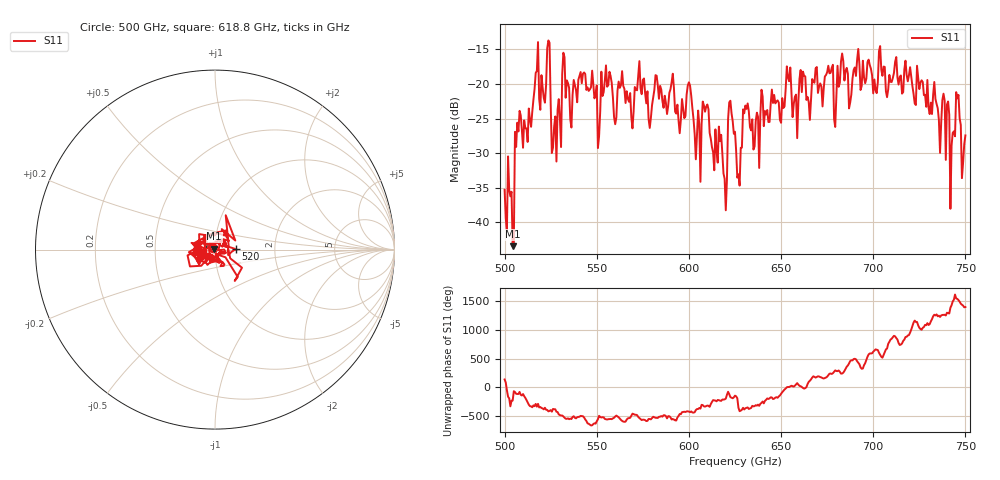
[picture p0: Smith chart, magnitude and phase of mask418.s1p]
!Created with skrf (http://scikit-rf.org).
# GHz S MA R 50.0
!freq magS11 angS11
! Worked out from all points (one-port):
!   401 points, 500 GHz to 750 GHz, reference 50 ohm
!   lowest |S11| = -43.4 dB at 504.4 GHz (marker M1), VSWR 1.01, Z = 49.6 + j0.504 ohm
!   |S11| at or under -10 dB: start of sweep to end of sweep
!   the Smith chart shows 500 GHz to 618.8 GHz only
!   S11 on the Smith chart (normalised r, x): 500 GHz: 0.97, +0.02; 520 GHz: 1.26, +0.01; 618.8 GHz: 0.96, +0.02
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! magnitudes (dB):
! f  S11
! 500 GHz  -35.3
! 504.4 GHz  -43.4
! 506.9 GHz  -25.6
! 520 GHz  -18.7
! 523.8 GHz  -13.7
! 526.9 GHz  -26.1
! 531.2 GHz  -18.6
! 542.5 GHz  -18.5
! 550.6 GHz  -29.3
! 562.5 GHz  -20.6
! 579.4 GHz  -24.9
! 590.6 GHz  -19.7
! 593.8 GHz  -23.0
! 600 GHz  -19.8
! 605 GHz  -23.8
! 608.8 GHz  -24.0
! 618.8 GHz  -32.9
! 622.5 GHz  -22.4
! 625 GHz  -26.9
! 627.5 GHz  -34.7
! 630.6 GHz  -23.1
! 634.4 GHz  -25.1
! 656.2 GHz  -24.8
! 687.5 GHz  -22.7
! 718.8 GHz  -19.6
! 743.1 GHz  -27.1
! 746.2 GHz  -21.6
! 750 GHz  -27.4
